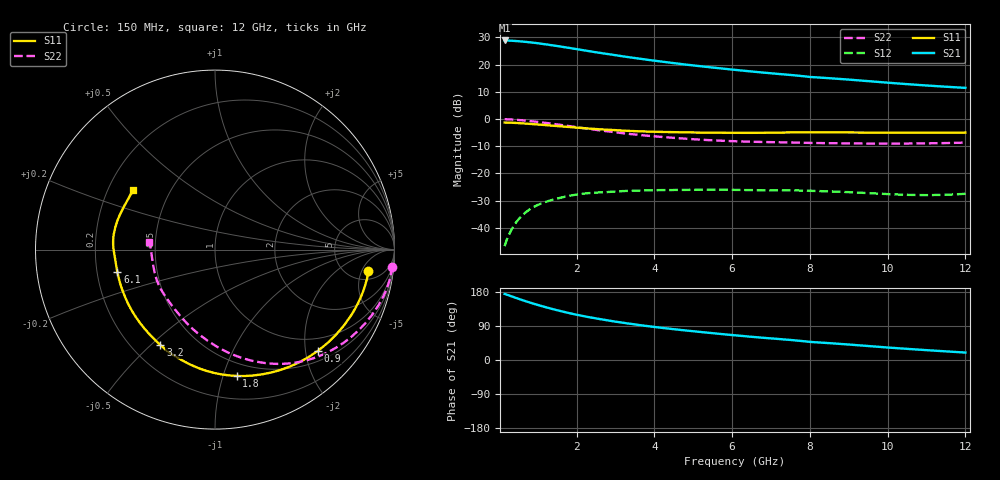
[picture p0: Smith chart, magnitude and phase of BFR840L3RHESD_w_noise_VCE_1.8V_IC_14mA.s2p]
! Infineon Technologies  Discrete & RF Semiconductors
! BFR840L3RHESD
! VCE =  1.8 V,  IC =  14 mA
! Common Emitter S-Parameters:  Jun 2012
# GHz  S  MA  R  50
!  f  S11  S21  S12  S22
! GHz  MAG  ANG  MAG  ANG  MAG  ANG  MAG  ANG
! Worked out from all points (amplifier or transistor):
!   91 points, 150 MHz to 12 GHz, reference 50 ohm
!   highest |S21| = 28.9 dB at 150 MHz (marker M1)
!   |S21| within 3 dB of that: start of sweep to 1.922 GHz
!   unconditionally stable (mu >= 1): 7.926 GHz to end of sweep
!   at 1.3 GHz: K = 0.15, MSG = 28.7 dB, |S12| = -30.0 dB
!   at 4.3 GHz: K = 0.49, MSG = 23.5 dB, |S12| = -26.1 dB
!   at 12 GHz: K = 1.94, MAG = 13.9 dB, |S12| = -27.5 dB
!   lowest NFmin = 0.86 dB at 450 MHz
!   S11 on the Smith chart (normalised r, x): 150 MHz: 7.26, -6.77; 900 MHz: 0.71, -2.26; 1.8 GHz: 0.39, -1.11; 3.2 GHz: 0.31, -0.54; 6.1 GHz: 0.29, -0.10; 12 GHz: 0.31, +0.30
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0.15  0.8634 -7.9  27.84 174.4  0.0046 85.8  0.9919 -5.5
0.3  0.8577 -15.6  27.59 169.0  0.0085 83.0  0.984 -11.6
0.45  0.8467 -23.2  27.15 163.6  0.0127 76.1  0.968 -17.2
0.7  0.8241 -35.3  26.18 154.9  0.0195 68.1  0.9326 -26.1
0.9  0.8045 -44.4  25.25 148.4  0.0242 63.7  0.9009 -32.8
1.1  0.7841 -53.1  24.21 142.4  0.0282 59.6  0.8676 -39.1
1.3  0.7635 -61.4  23.11 136.8  0.0315 55.3  0.8329 -45.2
1.5  0.7432 -69.2  22 131.4  0.0345 51.0  0.7973 -50.9
1.8  0.7141 -80.3  20.36 124.0  0.0386 45.3  0.7435 -58.8
2.2  0.6787 -93.5  18.29 115.3  0.0427 40.0  0.6763 -68.2
2.7  0.6417 -107.3  16.06 106.3  0.0451 34.6  0.606 -78.4
3  0.6262 -115.1  14.93 101.2  0.0466 32.2  0.5715 -83.8
3.2  0.6125 -119.8  14.19 98.2  0.0474 29.7  0.5478 -87.7
3.7  0.5921 -130.2  12.64 91.1  0.0487 26.1  0.5028 -95.9
4.2  0.5796 -139.4  11.35 84.8  0.0494 23.3  0.4682 -103.4
5  0.5662 -152.4  9.681 75.9  0.0499 19.5  0.4257 -114.8
6.1  0.5581 -167.0  7.988 64.9  0.0498 16.2  0.3901 -129.3
6.8  0.559 -174.8  7.147 58.6  0.0491 15.2  0.3784 -138.1
8  0.5705 171.3  5.942 47.8  0.0479 13.2  0.364 -154.3
8.5  0.5693 167.2  5.636 44.5  0.0468 12.6  0.36 -158.7
10.5  0.5599 151.7  4.382 29.4  0.0404 17.8  0.3548 -176.9
12  0.5645 143.9  3.741 19.6  0.0422 28.0  0.3686 173.5
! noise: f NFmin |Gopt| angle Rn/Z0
0.45  0.86  0.2  6  0.14
0.9  0.9  0.2  11  0.14
1.9  0.92  0.21  33  0.14
3.5  0.92  0.22  57  0.13
4  0.94  0.22  64  0.13
5.5  0.96  0.24  80  0.12
7  1.01  0.25  99  0.12
8  1.07  0.25  111  0.11
10  1.16  0.24  129  0.11
12  1.28  0.24  167  0.11
